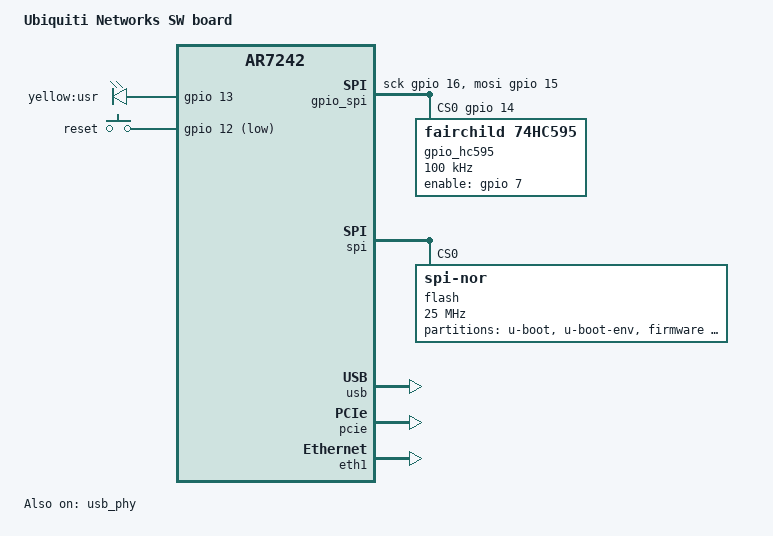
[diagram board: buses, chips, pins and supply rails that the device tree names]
// SPDX-License-Identifier: GPL-2.0-or-later OR MIT

#include "ar7242.dtsi"

#include <dt-bindings/gpio/gpio.h>
#include <dt-bindings/input/input.h>

/ {
	compatible = "qca,ar7242";
	model = "Ubiquiti Networks SW board";

	chosen {
		bootargs = "console=ttyS0,115200n8";
	};

	aliases {
		led-boot = &led_usr;
		led-failsafe = &led_usr;
		led-running = &led_usr;
		led-upgrade = &led_usr;
	};

	leds {
		compatible = "gpio-leds";

		led_usr: usr {
			label = "yellow:usr";
			gpios = <&gpio 13 GPIO_ACTIVE_HIGH>;
		};
	};

	keys {
		compatible = "gpio-keys";

		reset {
			linux,code = <KEY_RESTART>;
			gpios = <&gpio 12 GPIO_ACTIVE_LOW>;
			debounce-interval = <60>;
		};
	};

	gpio_spi {
		compatible = "spi-gpio";
		#address-cells = <0x1>;
		ranges;

		sck-gpios = <&gpio 16 GPIO_ACTIVE_HIGH>;
		mosi-gpios = <&gpio 15 GPIO_ACTIVE_HIGH>;
		cs-gpios = <&gpio 14 GPIO_ACTIVE_HIGH>;
		num-chipselects = <1>;

		gpio_hc595: gpio_spi@0 {
			compatible = "fairchild,74hc595";
			reg = <0>;
			registers-number = <2>;
			spi-max-frequency = <100000>;
			enable-gpios = <&gpio 7 GPIO_ACTIVE_HIGH>;

			gpio-controller;
			#gpio-cells = <2>;

		};
	};
};

&spi {
	status = "okay";

	flash@0 {
		compatible = "jedec,spi-nor";
		reg = <0>;
		spi-max-frequency = <25000000>;

		partitions {
			compatible = "fixed-partitions";
			#address-cells = <1>;
			#size-cells = <1>;

			partition@0 {
				reg = <0x000000 0x040000>;
				label = "u-boot";
				read-only;
			};

			partition@40000 {
				reg = <0x040000 0x010000>;
				label = "u-boot-env";
				read-only;
			};

			partition@50000 {
				compatible = "denx,uimage";
				reg = <0x050000 0x760000>;
				label = "firmware";
			};

			partition@7b0000 {
				reg = <0x7b0000 0x040000>;
				label = "cfg";
				read-only;
			};

			art: partition@7f0000 {
				reg = <0x7f0000 0x010000>;
				label = "art";
				read-only;
			};
		};
	};
};

&usb_phy {
	status = "okay";
};

&usb {
	#address-cells = <1>;
	#size-cells = <0>;
	status = "okay";

	hub_port: port@1 {
		reg = <1>;
		#trigger-source-cells = <0>;
	};
};

&pcie {
	status = "okay";
};

&eth1 {
	status = "okay";

	mtd-mac-address = <&art 0x6>;
};
